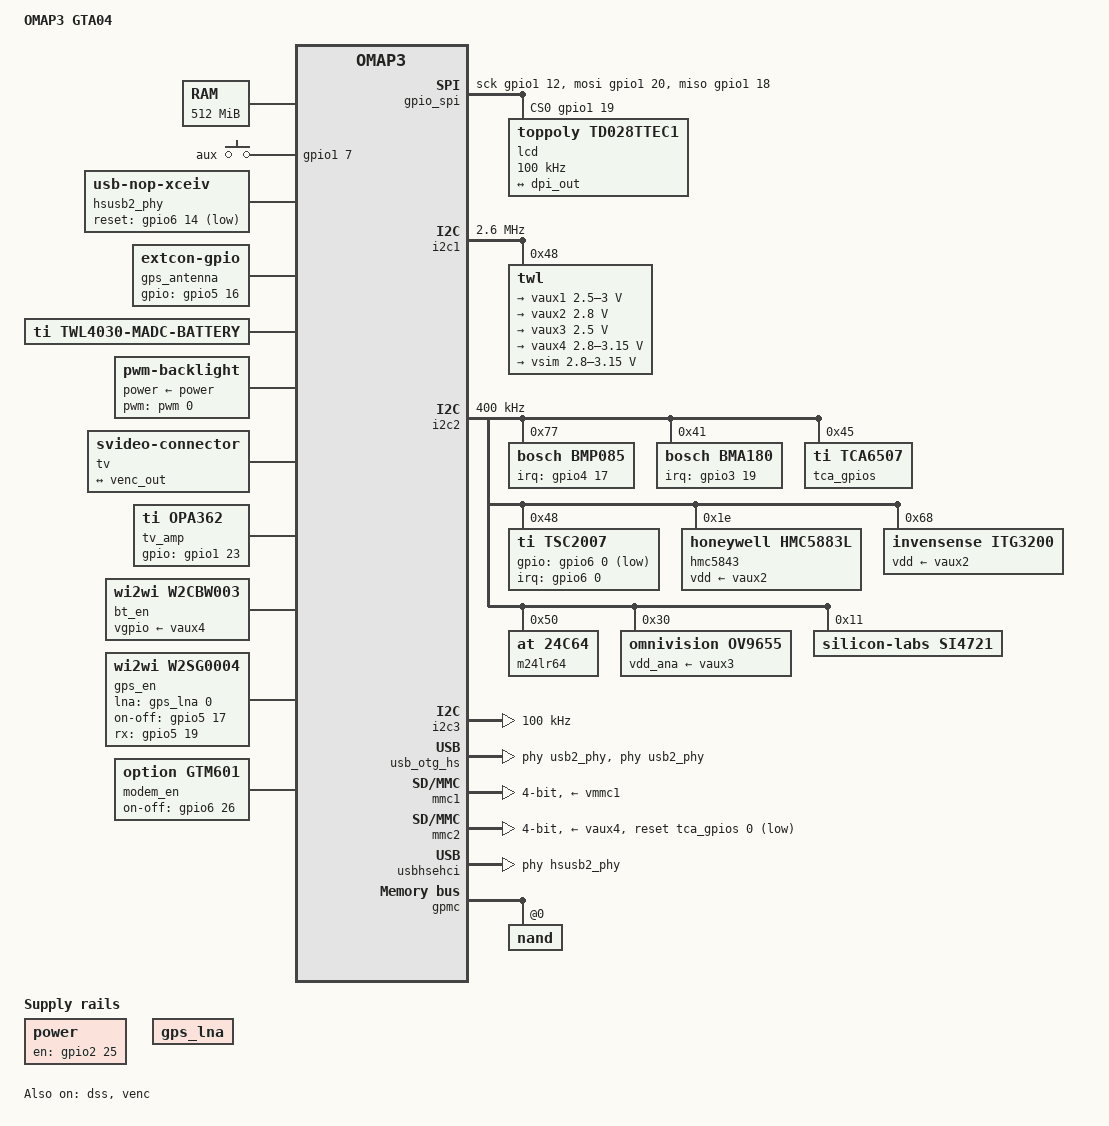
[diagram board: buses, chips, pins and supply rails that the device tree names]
/*
 * Copyright (C) 2013 Marek Belisko <marek@goldelico.com>
 *
 * Based on omap3-beagle-xm.dts
 *
 * This program is free software; you can redistribute it and/or modify
 * it under the terms of the GNU General Public License version 2 as
 * published by the Free Software Foundation.
 */
/dts-v1/;

#include "omap36xx.dtsi"

/ {
	model = "OMAP3 GTA04";
	compatible = "ti,omap3-gta04", "ti,omap36xx", "ti,omap3";

	cpus {
		cpu@0 {
			cpu0-supply = <&vcc>;
		};
	};

	memory {
		device_type = "memory";
		reg = <0x80000000 0x20000000>; /* 512 MB */
	};

	aliases {
		display0 = &lcd;
		display1 = &tv0;
	};

	gpio-keys {
		compatible = "gpio-keys";

		aux-button {
			label = "aux";
			linux,code = <169>;
			gpios = <&gpio1 7 GPIO_ACTIVE_HIGH>;
			gpio-key,wakeup;
		};
	};

	hsusb2_phy: hsusb2_phy {
		compatible = "usb-nop-xceiv";
		reset-gpios = <&gpio6 14 GPIO_ACTIVE_LOW>; /* gpio_174 = reset for USB3322 */
/*		vcc-supply = <&hsusb2_power>; */
	};

	antenna-detect {
		compatible = "linux,extcon-gpio";
		label = "gps_antenna";
		gpios = <&gpio5 16 0>; /* GPIO144 */
		debounce-delay-ms = <10>;
		irq-flags = <IRQ_TYPE_EDGE_BOTH>;
		state-on = "external";
		state-off = "internal";
	};

	sound {
		compatible = "ti,omap-twl4030";
		ti,model = "gta04";

		ti,mcbsp = <&mcbsp2>;
		ti,codec = <&twl_audio>;

		ti,mcbsp-voice = <&mcbsp4>;
/*		ti,jack-det-gpio = <&gpio? >;    /* planned for GTA04A5 */
/*		ti,audio-routing = "Headset Mic", "HSMIC",
				 specify list of audio routings */
	};

	madc-hwmon {
		compatible = "ti,twl4030-madc-hwmon";
	};

	battery {
		compatible = "ti,twl4030-madc-battery";
		capacity = <1200000>;
		charging-calibration-data = <4200 100 4100 75 4000 55 3900 25 3800 5 3700 2 3600 1 3300 0>;
		discharging-calibration-data = <4200 100 4100 95 4000 70 3800 50 3700 10 3600 5 3300 0>;
	};

	gpio_spi {
		compatible = "spi-gpio";
		#address-cells = <0x1>;
		#size-cells = <0x0>;
		pinctrl-names = "default";
		pinctrl-0 = <&spi_gpio_pins>;

		gpio-sck = <&gpio1 12 0>;
		gpio-miso = <&gpio1 18 0>;
		gpio-mosi = <&gpio1 20 0>;
		cs-gpios = <&gpio1 19 0>;
		num-chipselects = <1>;

		/* lcd panel */
		lcd: td028ttec1@0 {
			compatible = "toppoly,td028ttec1";
			reg = <0>;
			spi-max-frequency = <100000>;
			spi-cpol;
			spi-cpha;

			label = "lcd";

			lcd_in: endpoint {
				remote-endpoint = <&dpi_out>;
			};
		};
	};

	backlight {
		compatible = "pwm-backlight";
		pwms = <&pwm 0 2000000>;
		brightness-levels = <0 11 20 30 40 50 60 70 80 90 100>;
		default-brightness-level = <10>;
		pinctrl-names = "default";
		pintcrl-0 = <&backlight_pins>;
		power-supply = <&power>;
	};

	pwm: omap-pwm {
		compatible = "ti,omap-pwm";
		timers = <&timer11>;
		#pwm-cells = <2>;
	};

	/* should be a PWM */
	power: fixed_regulator@0 {
	       compatible = "regulator-fixed";
	       regulator-name = "bl-enable";
	       regulator-boot-on;
	       regulator-always-on;
	       regulator-min-microvolt = "1000000";
	       regulator-max-microvolt = "1000000";
	       gpio = <&gpio2 25 0>;	/* GPT11/PWM */
	       enable-active-high;
	};

	tv0: connector@1 {
		compatible = "svideo-connector";
		label = "tv";

		port {
			tv_connector_in: endpoint {
				remote-endpoint = <&venc_out>;
			};
		};
	};

	tv_amp: opa362 {
		compatible = "ti,opa362";
		gpio = <&gpio1 23 0>;	/* GPIO to enable */
		/* needs some endpoint plumbing into the VENC signal chain */
	};

	bt_en: w2cbw003 { /* presents a single gpio to be plumbed to uart1 dts */
		compatible = "wi2wi,w2cbw003";
		gpio-controller;
		#gpio-cells = <2>;

		microvolt = <3150000>;
		vgpio-supply = <&vaux4>;
	};

	gps_lna: gps-lna { /* presents a single gpio to be plumbed to w2sg0004 lna control */
		compatible = "regulator-gpio";
		gpio-controller;
		#gpio-cells = <2>;

		vgpio-supply = <&vsim>;
	};

	gps_en: w2sg0004 { /* presents a single gpio to be plumbed to uart2 dts */
		compatible = "wi2wi,w2sg0004";
		gpio-controller;
		#gpio-cells = <2>;

		lna-gpio = <&gps_lna 0 0>;	/* rfkill controllable LNA gpio/regulator */
		on-off-gpio = <&gpio5 17 0>;	/* GPIO_145: trigger for w2sg0004 */
		rx-gpio = <&gpio5 19 0>;	/* GPIO_147: RX */
		rx-on-mux = < (PIN_INPUT_PULLUP | MUX_MODE0) >;
		rx-off-mux = < (PIN_INPUT_PULLUP | MUX_MODE4) >;
	};

	modem_en: modem { /* control modem power through rfkill */
		compatible = "option,gtm601";
		/* compatible = "gemalto,phs8" for Neo900/GTA04b7 */

		on-off-gpio = <&gpio6 26 0>;	/* GPIO_186: trigger for power on */
	/*	on-indicator-gpio = <&gpio5 19 0>;	/* n/a */
	};

};

&omap3_pmx_core {
	uart1_pins: pinmux_uart1_pins {
		pinctrl-single,pins = <
			0x152 (PIN_INPUT | MUX_MODE0)		/* uart1_rx.uart1_rx */
			0x14c (PIN_OUTPUT |MUX_MODE0)		/* uart1_tx.uart1_tx */
			/* what about rts/cts? */
		>;
	};

	uart2_pins: pinmux_uart2_pins {
		pinctrl-single,pins = <
			0x14a (PIN_INPUT | MUX_MODE0)		/* uart2_rx.uart2_rx */
			0x148 (PIN_OUTPUT | MUX_MODE0)		/* uart2_tx.uart2_tx */
			/* what about rts/cts? */
		>;
	};

	uart3_pins: pinmux_uart3_pins {
		pinctrl-single,pins = <
			0x16e (PIN_INPUT /* | PIN_OFF_WAKEUPENABLE */ | MUX_MODE0)		/* uart3_rx.uart3_rx */
			0x170 (PIN_OUTPUT | MUX_MODE0)		/* uart3_tx.uart3_tx */
			/* what about rts/cts etc.? */
		>;
	};

	mmc1_pins: pinmux_mmc1_pins {
		pinctrl-single,pins = <
			0x114 (PIN_INPUT_PULLUP | MUX_MODE0)	/* sdmmc1_clk.sdmmc1_clk */
			0x116 (PIN_INPUT_PULLUP | MUX_MODE0)	/* sdmmc1_cmd.sdmmc1_cmd */
			0x118 (PIN_INPUT_PULLUP | MUX_MODE0) 	/* sdmmc1_dat0.sdmmc1_dat0 */
			0x11a (PIN_INPUT_PULLUP | MUX_MODE0)	/* sdmmc1_dat1.sdmmc1_dat1 */
			0x11c (PIN_INPUT_PULLUP | MUX_MODE0)	/* sdmmc1_dat2.sdmmc1_dat2 */
			0x11e (PIN_INPUT_PULLUP | MUX_MODE0)	/* sdmmc1_dat3.sdmmc1_dat3 */
		>;
	};
	dss_dpi_pins: pinmux_dss_dpi_pins {
               pinctrl-single,pins = <
                       0x0a4 (PIN_OUTPUT | MUX_MODE0)   /* dss_pclk.dss_pclk */
                       0x0a6 (PIN_OUTPUT | MUX_MODE0)   /* dss_hsync.dss_hsync */
                       0x0a8 (PIN_OUTPUT | MUX_MODE0)   /* dss_vsync.dss_vsync */
                       0x0aa (PIN_OUTPUT | MUX_MODE0)   /* dss_acbias.dss_acbias */
                       0x0ac (PIN_OUTPUT | MUX_MODE0)   /* dss_data0.dss_data0 */
                       0x0ae (PIN_OUTPUT | MUX_MODE0)   /* dss_data1.dss_data1 */
                       0x0b0 (PIN_OUTPUT | MUX_MODE0)   /* dss_data2.dss_data2 */
                       0x0b2 (PIN_OUTPUT | MUX_MODE0)   /* dss_data3.dss_data3 */
                       0x0b4 (PIN_OUTPUT | MUX_MODE0)   /* dss_data4.dss_data4 */
                       0x0b6 (PIN_OUTPUT | MUX_MODE0)   /* dss_data5.dss_data5 */
                       0x0b8 (PIN_OUTPUT | MUX_MODE0)   /* dss_data6.dss_data6 */
                       0x0ba (PIN_OUTPUT | MUX_MODE0)   /* dss_data7.dss_data7 */
                       0x0bc (PIN_OUTPUT | MUX_MODE0)   /* dss_data8.dss_data8 */
                       0x0be (PIN_OUTPUT | MUX_MODE0)   /* dss_data9.dss_data9 */
                       0x0c0 (PIN_OUTPUT | MUX_MODE0)   /* dss_data10.dss_data10 */
                       0x0c2 (PIN_OUTPUT | MUX_MODE0)   /* dss_data11.dss_data11 */
                       0x0c4 (PIN_OUTPUT | MUX_MODE0)   /* dss_data12.dss_data12 */
                       0x0c6 (PIN_OUTPUT | MUX_MODE0)   /* dss_data13.dss_data13 */
                       0x0c8 (PIN_OUTPUT | MUX_MODE0)   /* dss_data14.dss_data14 */
                       0x0ca (PIN_OUTPUT | MUX_MODE0)   /* dss_data15.dss_data15 */
                       0x0cc (PIN_OUTPUT | MUX_MODE0)   /* dss_data16.dss_data16 */
                       0x0ce (PIN_OUTPUT | MUX_MODE0)   /* dss_data17.dss_data17 */
                       0x0d0 (PIN_OUTPUT | MUX_MODE0)   /* dss_data18.dss_data18 */
                       0x0d2 (PIN_OUTPUT | MUX_MODE0)   /* dss_data19.dss_data19 */
                       0x0d4 (PIN_OUTPUT | MUX_MODE0)   /* dss_data20.dss_data20 */
                       0x0d6 (PIN_OUTPUT | MUX_MODE0)   /* dss_data21.dss_data21 */
                       0x0d8 (PIN_OUTPUT | MUX_MODE0)   /* dss_data22.dss_data22 */
                       0x0da (PIN_OUTPUT | MUX_MODE0)   /* dss_data23.dss_data23 */
               >;
       };


	backlight_pins: backlight_pins_pimnux {
		pinctrl-single,pins = <0x8a MUX_MODE4>;
	};

	hsusb2_pins: pinmux_hsusb2_pins {
		pinctrl-single,pins = <
			OMAP3_CORE1_IOPAD(0x21d4, PIN_INPUT_PULLDOWN | MUX_MODE3)	/* mcspi1_cs3.hsusb2_data2 */
			OMAP3_CORE1_IOPAD(0x21d6, PIN_INPUT_PULLDOWN | MUX_MODE3)	/* mcspi2_clk.hsusb2_data7 */
			OMAP3_CORE1_IOPAD(0x21d8, PIN_INPUT_PULLDOWN | MUX_MODE3)	/* mcspi2_simo.hsusb2_data4 */
			OMAP3_CORE1_IOPAD(0x21da, PIN_INPUT_PULLDOWN | MUX_MODE3)	/* mcspi2_somi.hsusb2_data5 */
			OMAP3_CORE1_IOPAD(0x21dc, PIN_INPUT_PULLDOWN | MUX_MODE3)	/* mcspi2_cs0.hsusb2_data6 */
			OMAP3_CORE1_IOPAD(0x21de, PIN_INPUT_PULLDOWN | MUX_MODE3)	/* mcspi2_cs1.hsusb2_data3 */
		>;
	};

	i2c1_pins: pinmux_i2c1_pins {
		pinctrl-single,pins = <
			0x18a (PIN_INPUT_PULLUP | MUX_MODE0)   /* i2c1_scl.i2c1_scl */
			0x18c (PIN_INPUT_PULLUP | MUX_MODE0)   /* i2c1_sda.i2c1_sda */
		>;
	};

	i2c2_pins: pinmux_i2c2_pins {
		pinctrl-single,pins = <
			0x18e (PIN_INPUT_PULLUP | MUX_MODE0)   /* i2c2_scl.i2c2_scl */
			0x190 (PIN_INPUT_PULLUP | MUX_MODE0)   /* i2c2_sda.i2c2_sda */
		>;
	};

	i2c3_pins: pinmux_i2c3_pins {
		pinctrl-single,pins = <
			0x192 (PIN_INPUT_PULLUP | MUX_MODE0)   /* i2c3_scl.i2c3_scl */
			0x194 (PIN_INPUT_PULLUP | MUX_MODE0)   /* i2c3_sda.i2c3_sda */
		>;
	};

};

&omap3_pmx_core2 {
	pinctrl-names = "default";
	pinctrl-0 = <
			&hsusb2_2_pins
	>;

	hsusb2_2_pins: pinmux_hsusb2_2_pins {
		pinctrl-single,pins = <
			OMAP3630_CORE2_IOPAD(0x25f0, PIN_OUTPUT | MUX_MODE3)		/* etk_d10.hsusb2_clk */
			OMAP3630_CORE2_IOPAD(0x25f2, PIN_OUTPUT | MUX_MODE3)		/* etk_d11.hsusb2_stp */
			OMAP3630_CORE2_IOPAD(0x25f4, PIN_INPUT_PULLDOWN | MUX_MODE3)	/* etk_d12.hsusb2_dir */
			OMAP3630_CORE2_IOPAD(0x25f6, PIN_INPUT_PULLDOWN | MUX_MODE3)	/* etk_d13.hsusb2_nxt */
			OMAP3630_CORE2_IOPAD(0x25f8, PIN_INPUT_PULLDOWN | MUX_MODE3)	/* etk_d14.hsusb2_data0 */
			OMAP3630_CORE2_IOPAD(0x25fa, PIN_INPUT_PULLDOWN | MUX_MODE3)	/* etk_d15.hsusb2_data1 */
		>;
	};

	spi_gpio_pins: spi_gpio_pinmux {
		pinctrl-single,pins = <
			OMAP3630_CORE2_IOPAD(0x25d8, PIN_OUTPUT | MUX_MODE4) /* clk */
			OMAP3630_CORE2_IOPAD(0x25e6, PIN_OUTPUT | MUX_MODE4) /* cs */
			OMAP3630_CORE2_IOPAD(0x25e8, PIN_OUTPUT | MUX_MODE4) /* tx */
			OMAP3630_CORE2_IOPAD(0x25e4, PIN_INPUT | MUX_MODE4) /* rx */
		>;
	};
};

&i2c1 {
	clock-frequency = <2600000>;

	twl: twl@48 {
		reg = <0x48>;
		interrupts = <7>; /* SYS_NIRQ cascaded to intc */
		interrupt-parent = <&intc>;

		twl_power: power {
			compatible = "ti,twl4030-power";
			ti,use_poweroff;
		};
		/* spare */
		vaux1: regulator-vaux1 {
			compatible = "ti,twl4030-vaux1";
			regulator-min-microvolt = <2500000>;
			regulator-max-microvolt = <3000000>;
		};
		/* sensors */
		vaux2: regulator-vaux2 {
			compatible = "ti,twl4030-vaux2";
			regulator-min-microvolt = <2800000>;
			regulator-max-microvolt = <2800000>;
			regulator-always-on;	/* we should not switch off while keeping 1V8 on! */
		};
		/* camera */
		vaux3: regulator-vaux3 {
			compatible = "ti,twl4030-vaux3";
			regulator-min-microvolt = <2500000>;
			regulator-max-microvolt = <2500000>;
		};
		/* WLAN/BT */
		vaux4: regulator-vaux4 {
			compatible = "ti,twl4030-vaux4";
			regulator-min-microvolt = <2800000>;
			regulator-max-microvolt = <3150000>;
		};
		/* GPS LNA */
		vsim: regulator-vsim {
			compatible = "ti,twl4030-vsim";
			regulator-min-microvolt = <2800000>;
			regulator-max-microvolt = <3150000>;
		};
		/* backup battery charger */
		charger: bci {
			ti,bb-uvolt = <3200000>;
			ti,bb-uamp = <150>;
		};
		twl_audio: audio {
			compatible = "ti,twl4030-audio";

			ti,enable-vibra = <1>;

			codec {
				ti,ramp_delay_value = <3>;
			};
		};
	};
};

#include "twl4030.dtsi"
#include "twl4030_omap3.dtsi"

&i2c2 {
	clock-frequency = <400000>;

	/* pressure sensor */
	bmp085@77 {
		compatible = "bosch,bmp085";
		reg = <0x77>;
		interrupt-parent = <&gpio4>;
		interrupts = <17 IRQ_TYPE_EDGE_RISING>;
	};

	/* accelerometer */
	bma180@41 {
		/* we use the BMA150 Input (CONFIG_INPUT_BMA150) driver */
		compatible = "bosch,bma180";
		reg = <0x41>;
		interrupt-parent = <&gpio3>;
		interrupts = <19 (IRQ_TYPE_LEVEL_HIGH | IRQ_TYPE_EDGE_RISING)>;
	};

	/* leds */
	tca_gpios: tca6507@45 {
		compatible = "ti,tca6507";
		#address-cells = <1>;
		#size-cells = <0>;
		reg = <0x45>;

		gpio-controller;
		#gpio-cells = <2>;

		gta04_led0: red_aux@0 {
			label = "gta04:red:aux";
			reg = <0x0>;
		};

		gta04_led1: green_aux@1 {
			label = "gta04:green:aux";
			reg = <0x1>;
		};

		gta04_led3: red_power@3 {
			label = "gta04:red:power";
			reg = <0x3>;
			linux,default-trigger = "default-on";
		};

		gta04_led4: green_power@4 {
			label = "gta04:green:power";
			reg = <0x4>;
		};

		wifi_reset: wifi_reset@6 { /* reference as <&tca_gpios 0 0> since it is currently the only GPIO */
			reg = <0x6>;
			compatible = "gpio";
		};
	};

	/* touchscreen */
	tsc2007@48 {
		compatible = "ti,tsc2007";
		reg = <0x48>;
		interrupt-parent = <&gpio6>;
		interrupts = <0 IRQ_TYPE_EDGE_FALLING>;
		gpios = <&gpio6 0 GPIO_ACTIVE_LOW>;
		ti,x-plate-ohms = <600>;
	};

	/* compass aka magnetometer */
	hmc5843@1e {
		compatible = "honeywell,hmc5883l";
		reg = <0x1e>;
		vdd-supply = <&vaux2>;	/* driver should devm_regulator_get_optional("vdd") */
	};

	/* gyroscope */
	itg3200@68 {
		compatible = "invensense,itg3200";
		reg = <0x68>;
		vdd-supply = <&vaux2>;	/* driver should devm_regulator_get_optional("vdd") */
	};

	/* RFID EEPROM */
	m24lr64@50 {
		compatible = "at,24c64";
		reg = <0x50>;
	};

	/* flash/torch (torch driver not yet available) */
/* segfaults during modprobe
	tps61050@33 {
		compatible = "ti,tps61050";
		reg = <0x33>;

		flash: regulator@0 {
			regulator-min-microvolt  = <1000000>;
			regulator-max-microvolt  = <3000000>;
		};
	};
*/

	/* camera (driver not yet available) */
	ov9655@30 {
		compatible = "omnivision,ov9655";
		reg = <0x30>;
		vdd_ana-supply = <&vaux3>;	/* driver should devm_regulator_get_optional("vdd_ana") */
		/* connect to camera interface to supply clock and capture */
	};

	/* FM Radio (no kernel driver) */
	si4721@11 {
		compatible = "silicon-labs,si4721";
		reg = <0x11>;
	};

};

&i2c3 {
	clock-frequency = <100000>;
	/* unused */
};

&usb_otg_hs {
	interface-type = <0>;
	usb-phy = <&usb2_phy>;
	phys = <&usb2_phy>;
	phy-names = "usb2-phy";
	mode = <3>;
	power = <50>;
};

&mmc1 {
	pinctrl-names = "default";
	pinctrl-0 = <&mmc1_pins>;
	vmmc-supply = <&vmmc1>;
	bus-width = <4>;
	ti,non-removable;
};

&mmc2 {
	vmmc-supply = <&vaux4>;
	bus-width = <4>;
	ti,non-removable;
	reset-gpios = <&tca_gpios 0 GPIO_ACTIVE_LOW>;	/* W2CBW003 reset through tca6507 */
};

&mmc3 {
	status = "disabled";
};

&uart1 { /* Bluetooth */
	pinctrl-names = "default";
	pinctrl-0 = <&uart1_pins>;
	dtr-gpio = <&bt_en 0 0>;	/* w2cbw bluetooth power control through virtual gpio */
};

&uart2 { /* GPS */
	pinctrl-names = "default";
	pinctrl-0 = <&uart2_pins>;
	dtr-gpio = <&gps_en 0 0>;	/* w2sg0004 GPS power control through virtual gpio */
};

&uart3 { /* Console and IrDA */
	pinctrl-names = "default";
	pinctrl-0 = <&uart3_pins>;
};

&usbhshost {
	port2-mode = "ehci-phy";
};

&usbhsehci {
	phys = <0 &hsusb2_phy>;
};

&charger {
	bb_uvolt = <3200000>;
	bb_uamp = <150>;
};

&dss {
	pinctrl-names = "default";
	pinctrl-0 = < &dss_dpi_pins >;
	status = "ok";

	vdds_dsi-supply = <&vpll2>;

	dpi_out: endpoint {
               remote-endpoint = <&lcd_in>;
               data-lines = <24>;
       };

};

&venc {
	status = "ok";

	vdda-supply = <&vdac>;

	port {
		venc_out: endpoint {
			remote-endpoint = <&tv_connector_in>;
			ti,channels = <2>;
		};
	};
};

&gpmc {
	ranges = <0 0 0x30000000 0x04>;       /* CS0: NAND */

	nand@0,0 {
		reg = <0 0 0>; /* CS0, offset 0 */
		nand-bus-width = <16>;
		ti,nand-ecc-opt = "ham1";
		/* ti,nand-xfer-type = "polled"; */
		/* ti,elm-id = <&elm> */

		gpmc,sync-clk-ps = <0>;
		gpmc,cs-on-ns = <0>;
		gpmc,cs-rd-off-ns = <44>;
		gpmc,cs-wr-off-ns = <44>;
		gpmc,adv-on-ns = <6>;
		gpmc,adv-rd-off-ns = <34>;
		gpmc,adv-wr-off-ns = <44>;
		gpmc,we-off-ns = <40>;
		gpmc,oe-off-ns = <54>;
		gpmc,access-ns = <64>;
		gpmc,rd-cycle-ns = <82>;
		gpmc,wr-cycle-ns = <82>;
		gpmc,wr-access-ns = <40>;
		gpmc,wr-data-mux-bus-ns = <0>;

		#address-cells = <1>;
		#size-cells = <1>;

		x-loader@0 {
			label = "X-Loader";
			reg = <0 0x80000>;
		};

		bootloaders@80000 {
			label = "U-Boot";
			reg = <0x80000 0x1e0000>;
		};

		bootloaders_env@260000 {
			label = "U-Boot Env";
			reg = <0x260000 0x20000>;
		};

		kernel@280000 {
			label = "Kernel";
			reg = <0x280000 0x400000>;
		};

		filesystem@680000 {
			label = "File System";
			reg = <0x680000 0xf980000>;
		};
	};
};
